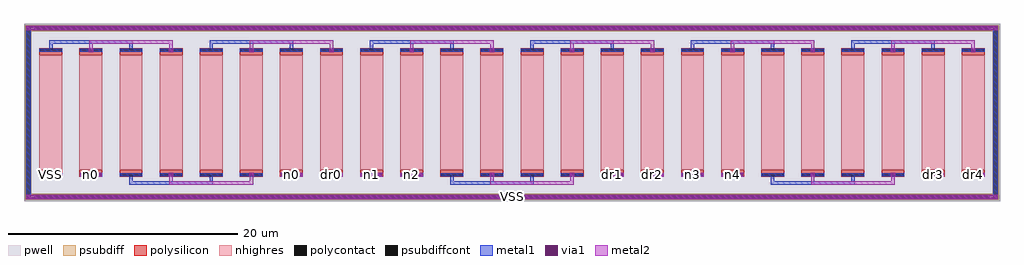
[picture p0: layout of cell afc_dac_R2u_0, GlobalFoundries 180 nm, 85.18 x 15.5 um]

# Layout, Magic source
magic
tech gf180mcuD
magscale 1 10
<< pwell >>
rect -468 -464 16568 2636
<< psubdiff >>
rect -444 -440 16544 -336
rect -444 2508 16544 2612
rect -444 -336 -340 2508
rect 16440 -336 16544 2508
<< polysilicon >>
rect -200 2086 200 2208
rect -200 -36 200 86
rect 1200 2086 1600 2208
rect 1200 -36 1600 86
rect 2600 2086 3000 2208
rect 2600 -36 3000 86
rect 4000 2086 4400 2208
rect 4000 -36 4400 86
rect 500 2086 900 2208
rect 500 -36 900 86
rect 1900 2086 2300 2208
rect 1900 -36 2300 86
rect 3300 2086 3700 2208
rect 3300 -36 3700 86
rect 4700 2086 5100 2208
rect 4700 -36 5100 86
rect 5400 2086 5800 2208
rect 5400 -36 5800 86
rect 6800 2086 7200 2208
rect 6800 -36 7200 86
rect 8200 2086 8600 2208
rect 8200 -36 8600 86
rect 9600 2086 10000 2208
rect 9600 -36 10000 86
rect 6100 2086 6500 2208
rect 6100 -36 6500 86
rect 7500 2086 7900 2208
rect 7500 -36 7900 86
rect 8900 2086 9300 2208
rect 8900 -36 9300 86
rect 10300 2086 10700 2208
rect 10300 -36 10700 86
rect 11000 2086 11400 2208
rect 11000 -36 11400 86
rect 12400 2086 12800 2208
rect 12400 -36 12800 86
rect 13800 2086 14200 2208
rect 13800 -36 14200 86
rect 15200 2086 15600 2208
rect 15200 -36 15600 86
rect 11700 2086 12100 2208
rect 11700 -36 12100 86
rect 13100 2086 13500 2208
rect 13100 -36 13500 86
rect 14500 2086 14900 2208
rect 14500 -36 14900 86
rect 15900 2086 16300 2208
rect 15900 -36 16300 86
<< nhighres >>
rect -200 86 200 2086
rect 1200 86 1600 2086
rect 2600 86 3000 2086
rect 4000 86 4400 2086
rect 500 86 900 2086
rect 1900 86 2300 2086
rect 3300 86 3700 2086
rect 4700 86 5100 2086
rect 5400 86 5800 2086
rect 6800 86 7200 2086
rect 8200 86 8600 2086
rect 9600 86 10000 2086
rect 6100 86 6500 2086
rect 7500 86 7900 2086
rect 8900 86 9300 2086
rect 10300 86 10700 2086
rect 11000 86 11400 2086
rect 12400 86 12800 2086
rect 13800 86 14200 2086
rect 15200 86 15600 2086
rect 11700 86 12100 2086
rect 13100 86 13500 2086
rect 14500 86 14900 2086
rect 15900 86 16300 2086
<< psubdiffcont >>
rect -431 -416 -353 2588
rect 16453 -416 16531 2588
rect -293 2521 16393 2599
rect -293 -427 16393 -349
<< polycontact >>
rect -187 2149 187 2195
rect -187 -23 187 23
rect 1213 2149 1587 2195
rect 1213 -23 1587 23
rect 2613 2149 2987 2195
rect 2613 -23 2987 23
rect 4013 2149 4387 2195
rect 4013 -23 4387 23
rect 513 2149 887 2195
rect 513 -23 887 23
rect 1913 2149 2287 2195
rect 1913 -23 2287 23
rect 3313 2149 3687 2195
rect 3313 -23 3687 23
rect 4713 2149 5087 2195
rect 4713 -23 5087 23
rect 5413 2149 5787 2195
rect 5413 -23 5787 23
rect 6813 2149 7187 2195
rect 6813 -23 7187 23
rect 8213 2149 8587 2195
rect 8213 -23 8587 23
rect 9613 2149 9987 2195
rect 9613 -23 9987 23
rect 6113 2149 6487 2195
rect 6113 -23 6487 23
rect 7513 2149 7887 2195
rect 7513 -23 7887 23
rect 8913 2149 9287 2195
rect 8913 -23 9287 23
rect 10313 2149 10687 2195
rect 10313 -23 10687 23
rect 11013 2149 11387 2195
rect 11013 -23 11387 23
rect 12413 2149 12787 2195
rect 12413 -23 12787 23
rect 13813 2149 14187 2195
rect 13813 -23 14187 23
rect 15213 2149 15587 2195
rect 15213 -23 15587 23
rect 11713 2149 12087 2195
rect 11713 -23 12087 23
rect 13113 2149 13487 2195
rect 13113 -23 13487 23
rect 14513 2149 14887 2195
rect 14513 -23 14887 23
rect 15913 2149 16287 2195
rect 15913 -23 16287 23
<< metal1 >>
rect -198 2149 198 2195
rect -198 -23 198 23
rect 1202 2149 1598 2195
rect 1202 -23 1598 23
rect 2602 2149 2998 2195
rect 2602 -23 2998 23
rect 4002 2149 4398 2195
rect 4002 -23 4398 23
rect 502 2149 898 2195
rect 502 -23 898 23
rect 1902 2149 2298 2195
rect 1902 -23 2298 23
rect 3302 2149 3698 2195
rect 3302 -23 3698 23
rect 4702 2149 5098 2195
rect 4702 -23 5098 23
rect 5402 2149 5798 2195
rect 5402 -23 5798 23
rect 6802 2149 7198 2195
rect 6802 -23 7198 23
rect 8202 2149 8598 2195
rect 8202 -23 8598 23
rect 9602 2149 9998 2195
rect 9602 -23 9998 23
rect 6102 2149 6498 2195
rect 6102 -23 6498 23
rect 7502 2149 7898 2195
rect 7502 -23 7898 23
rect 8902 2149 9298 2195
rect 8902 -23 9298 23
rect 10302 2149 10698 2195
rect 10302 -23 10698 23
rect 11002 2149 11398 2195
rect 11002 -23 11398 23
rect 12402 2149 12798 2195
rect 12402 -23 12798 23
rect 13802 2149 14198 2195
rect 13802 -23 14198 23
rect 15202 2149 15598 2195
rect 15202 -23 15598 23
rect 11702 2149 12098 2195
rect 11702 -23 12098 23
rect 13102 2149 13498 2195
rect 13102 -23 13498 23
rect 14502 2149 14898 2195
rect 14502 -23 14898 23
rect 15902 2149 16298 2195
rect 15902 -23 16298 23
rect -198 -38 198 38
rect -30 2149 30 2348
rect 1370 2149 1430 2348
rect -30 2288 1430 2348
rect 1370 -176 1430 23
rect 2770 -176 2830 23
rect 1370 -176 2830 -116
rect 2770 2149 2830 2348
rect 4170 2149 4230 2348
rect 2770 2288 4230 2348
rect 4002 -38 4398 38
rect 502 -38 898 38
rect 662 2134 738 2210
rect 2062 2134 2138 2210
rect 2062 -38 2138 38
rect 3462 -38 3538 38
rect 3462 2134 3538 2210
rect 4862 2134 4938 2210
rect 4702 -38 5098 38
rect 5402 -38 5798 38
rect 5570 2149 5630 2348
rect 6970 2149 7030 2348
rect 5570 2288 7030 2348
rect 6970 -176 7030 23
rect 8370 -176 8430 23
rect 6970 -176 8430 -116
rect 8370 2149 8430 2348
rect 9770 2149 9830 2348
rect 8370 2288 9830 2348
rect 9602 -38 9998 38
rect 6102 -38 6498 38
rect 6262 2134 6338 2210
rect 7662 2134 7738 2210
rect 7662 -38 7738 38
rect 9062 -38 9138 38
rect 9062 2134 9138 2210
rect 10462 2134 10538 2210
rect 10302 -38 10698 38
rect 11002 -38 11398 38
rect 11170 2149 11230 2348
rect 12570 2149 12630 2348
rect 11170 2288 12630 2348
rect 12570 -176 12630 23
rect 13970 -176 14030 23
rect 12570 -176 14030 -116
rect 13970 2149 14030 2348
rect 15370 2149 15430 2348
rect 13970 2288 15430 2348
rect 15202 -38 15598 38
rect 11702 -38 12098 38
rect 11862 2134 11938 2210
rect 13262 2134 13338 2210
rect 13262 -38 13338 38
rect 14662 -38 14738 38
rect 14662 2134 14738 2210
rect 16062 2134 16138 2210
rect 15902 -38 16298 38
rect -431 -427 16531 -349
rect -431 2521 16531 2599
rect -431 -427 -353 2599
rect 16453 -427 16531 2599
rect -431 -427 16531 -349
rect -431 2521 16531 2599
<< metal2 >>
rect -198 -38 198 38
rect 4002 -38 4398 38
rect 502 -38 898 38
rect 662 2134 738 2210
rect 670 2172 730 2348
rect 2062 2134 2138 2210
rect 2070 2172 2130 2348
rect 670 2288 2130 2348
rect 2062 -38 2138 38
rect 2070 -176 2130 0
rect 3462 -38 3538 38
rect 3470 -176 3530 0
rect 2070 -176 3530 -116
rect 3462 2134 3538 2210
rect 3470 2172 3530 2348
rect 4862 2134 4938 2210
rect 4870 2172 4930 2348
rect 3470 2288 4930 2348
rect 4702 -38 5098 38
rect 5402 -38 5798 38
rect 9602 -38 9998 38
rect 6102 -38 6498 38
rect 6262 2134 6338 2210
rect 6270 2172 6330 2348
rect 7662 2134 7738 2210
rect 7670 2172 7730 2348
rect 6270 2288 7730 2348
rect 7662 -38 7738 38
rect 7670 -176 7730 0
rect 9062 -38 9138 38
rect 9070 -176 9130 0
rect 7670 -176 9130 -116
rect 9062 2134 9138 2210
rect 9070 2172 9130 2348
rect 10462 2134 10538 2210
rect 10470 2172 10530 2348
rect 9070 2288 10530 2348
rect 10302 -38 10698 38
rect 11002 -38 11398 38
rect 15202 -38 15598 38
rect 11702 -38 12098 38
rect 11862 2134 11938 2210
rect 11870 2172 11930 2348
rect 13262 2134 13338 2210
rect 13270 2172 13330 2348
rect 11870 2288 13330 2348
rect 13262 -38 13338 38
rect 13270 -176 13330 0
rect 14662 -38 14738 38
rect 14670 -176 14730 0
rect 13270 -176 14730 -116
rect 14662 2134 14738 2210
rect 14670 2172 14730 2348
rect 16062 2134 16138 2210
rect 16070 2172 16130 2348
rect 14670 2288 16130 2348
rect 15902 -38 16298 38
rect -431 -427 16531 -349
rect -431 2521 16531 2599
<< via1 >>
rect -186 -26 186 26
rect 4014 -26 4386 26
rect 514 -26 886 26
rect 674 2146 726 2198
rect 2074 2146 2126 2198
rect 2074 -26 2126 26
rect 3474 -26 3526 26
rect 3474 2146 3526 2198
rect 4874 2146 4926 2198
rect 4714 -26 5086 26
rect 5414 -26 5786 26
rect 9614 -26 9986 26
rect 6114 -26 6486 26
rect 6274 2146 6326 2198
rect 7674 2146 7726 2198
rect 7674 -26 7726 26
rect 9074 -26 9126 26
rect 9074 2146 9126 2198
rect 10474 2146 10526 2198
rect 10314 -26 10686 26
rect 11014 -26 11386 26
rect 15214 -26 15586 26
rect 11714 -26 12086 26
rect 11874 2146 11926 2198
rect 13274 2146 13326 2198
rect 13274 -26 13326 26
rect 14674 -26 14726 26
rect 14674 2146 14726 2198
rect 16074 2146 16126 2198
rect 15914 -26 16286 26
rect -419 -415 16519 -361
rect -419 2533 16519 2587
<< labels >>
flabel metal2 s -198 -38 198 38 0 FreeSans 80 0 0 0 VSS
port 1 nsew signal bidirectional
flabel metal2 s 4002 -38 4398 38 0 FreeSans 80 0 0 0 n0
port 2 nsew signal bidirectional
flabel metal2 s 502 -38 898 38 0 FreeSans 80 0 0 0 n0
port 2 nsew signal bidirectional
flabel metal2 s 4702 -38 5098 38 0 FreeSans 80 0 0 0 dr0
port 3 nsew signal bidirectional
flabel metal2 s 5402 -38 5798 38 0 FreeSans 80 0 0 0 n1
port 4 nsew signal bidirectional
flabel metal2 s 9602 -38 9998 38 0 FreeSans 80 0 0 0 dr1
port 5 nsew signal bidirectional
flabel metal2 s 6102 -38 6498 38 0 FreeSans 80 0 0 0 n2
port 6 nsew signal bidirectional
flabel metal2 s 10302 -38 10698 38 0 FreeSans 80 0 0 0 dr2
port 7 nsew signal bidirectional
flabel metal2 s 11002 -38 11398 38 0 FreeSans 80 0 0 0 n3
port 8 nsew signal bidirectional
flabel metal2 s 15202 -38 15598 38 0 FreeSans 80 0 0 0 dr3
port 9 nsew signal bidirectional
flabel metal2 s 11702 -38 12098 38 0 FreeSans 80 0 0 0 n4
port 10 nsew signal bidirectional
flabel metal2 s 15902 -38 16298 38 0 FreeSans 80 0 0 0 dr4
port 11 nsew signal bidirectional
flabel metal2 s -431 -427 16531 -349 0 FreeSans 80 0 0 0 VSS
port 1 nsew signal bidirectional
<< end >>
